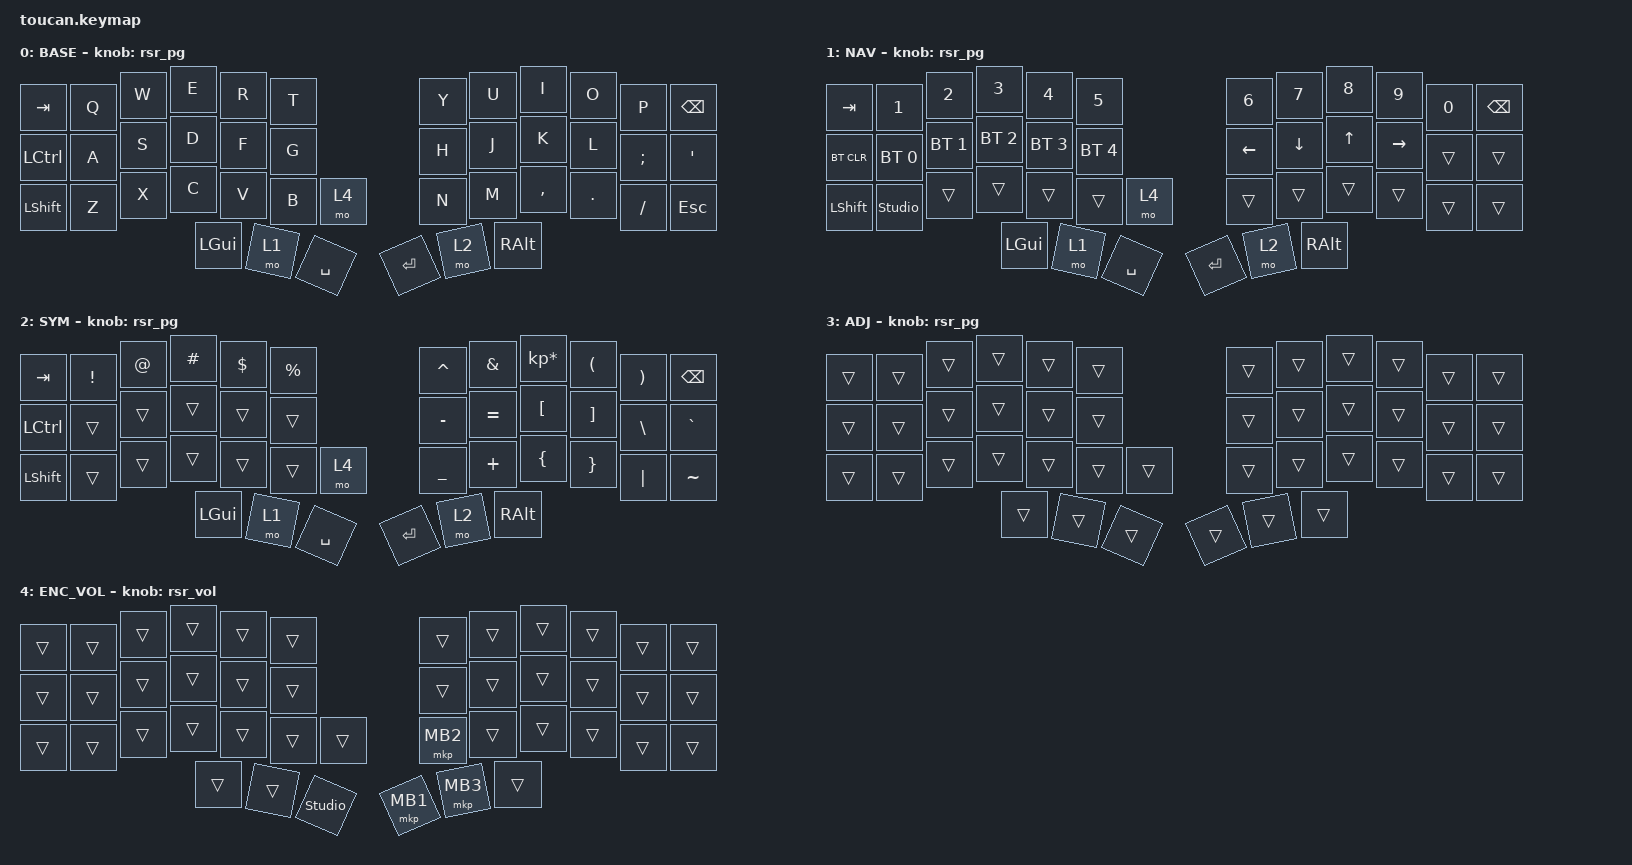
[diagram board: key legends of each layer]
#include <input/processors.dtsi>
#include <input/processors/runtime-input-processor.dtsi>
#include <behaviors/runtime-sensor-rotate.dtsi>
#include <behaviors/battery_history_request.dtsi>
#include <behaviors.dtsi>
#include <dt-bindings/zmk/bt.h>
#include <dt-bindings/zmk/keys.h>
#include <dt-bindings/zmk/pointing.h>

#define BASE    0
#define NAV     1
#define SYM     2
#define ADJ     3
#define ENC_VOL 4

/ {
    conditional_layers {
        compatible = "zmk,conditional-layers";

        tri_layer {
            if-layers = <1 2>;
            then-layer = <3>;
        };
    };

behaviors {
    rsr_vol: rsr_vol {
        compatible = "zmk,behavior-runtime-sensor-rotate";
        #sensor-binding-cells = <0>;
        tap-ms = <20>;
        cw-binding = <&kp C_VOL_DN>;
        ccw-binding = <&kp C_VOL_UP>;
    };

    rsr_pg: rsr_pg {
        compatible = "zmk,behavior-runtime-sensor-rotate";
        #sensor-binding-cells = <0>;
        tap-ms = <20>;
        cw-binding = <&kp PG_UP>;
        ccw-binding = <&kp PAGE_DOWN>;
    };
};

    keymap {
        compatible = "zmk,keymap";

        base {
            display-name = "BASE";
            bindings = <
&kp TAB  &kp Q  &kp W  &kp E  &kp R  &kp T  &kp Y  &kp U  &kp I  &kp O  &kp P  &kp BSPC  
&kp LCTRL  &kp A  &kp S  &kp D  &kp F  &kp G  &kp H  &kp J  &kp K  &kp L  &kp SEMI  &kp SQT  
&kp LSHFT  &kp Z  &kp X  &kp C  &kp V  &kp B  &kp N  &kp M  &kp COMMA  &kp DOT  &kp FSLH  &kp ESC  
&mo 4  &kp LGUI  &mo 1  &kp SPACE  &kp RET  &mo 2  &kp RALT
            >;

            sensor-bindings = <&rsr_pg>;
        };

        nav {
            display-name = "NAV";
            bindings = <
&kp TAB  &kp N1  &kp N2  &kp N3  &kp N4  &kp N5  &kp N6  &kp N7  &kp N8  &kp N9  &kp N0  &kp BSPC  
&bt BT_CLR  &bt BT_SEL 0  &bt BT_SEL 1  &bt BT_SEL 2  &bt BT_SEL 3  &bt BT_SEL 4  &kp LEFT  &kp DOWN  &kp UP  &kp RIGHT  &trans  &trans  
&kp LSHFT  &studio_unlock  &trans  &trans  &trans  &trans  &trans  &trans  &trans  &trans  &trans  &trans  
&mo 4  &kp LGUI  &mo 1  &kp SPACE  &kp RET  &mo 2  &kp RALT
            >;

            sensor-bindings = <&rsr_pg>;
        };

        sym {
            display-name = "SYM";
            bindings = <
&kp TAB  &kp EXCL  &kp AT  &kp HASH  &kp DLLR  &kp PRCNT  &kp CARET  &kp AMPS  &kp KP_MULTIPLY  &kp LPAR  &kp RPAR  &kp BSPC  
&kp LCTRL  &trans  &trans  &trans  &trans  &trans  &kp MINUS  &kp EQUAL  &kp LBKT  &kp RBKT  &kp BSLH  &kp GRAVE  
&kp LSHFT  &trans  &trans  &trans  &trans  &trans  &kp UNDER  &kp PLUS  &kp LBRC  &kp RBRC  &kp PIPE  &kp TILDE  
&mo 4  &kp LGUI  &mo 1  &kp SPACE  &kp RET  &mo 2  &kp RALT
            >;

            sensor-bindings = <&rsr_pg>;
        };

        adj {
    display-name = "ADJ";
    bindings = <
        &trans &trans &trans &trans &trans &trans
        &trans &trans &trans &trans &trans &trans

        &trans &trans &trans &trans &trans &trans
        &trans &trans &trans &trans &trans &trans

        &trans &trans &trans &trans &trans &trans
        &trans &trans &trans &trans &trans &trans

        &trans &trans &trans &trans &trans &trans &trans
    >;
    sensor-bindings = <&rsr_pg>;
};

        enc_vol {
            display-name = "ENC_VOL";
            bindings = <
&trans  &trans  &trans  &trans  &trans  &trans  &trans  &trans  &trans  &trans  &trans  &trans  
&trans  &trans  &trans  &trans  &trans  &trans  &trans  &trans  &trans  &trans  &trans  &trans  
&trans  &trans  &trans  &trans  &trans  &trans  &mkp MB2  &trans  &trans  &trans  &trans  &trans  
&trans  &trans  &trans  &studio_unlock  &mkp MB1  &mkp MB3  &trans
            >;

            sensor-bindings = <&rsr_vol>;
        };

        extra_2 { status = "reserved"; };

        extra_3 { status = "reserved"; };
    };
};
